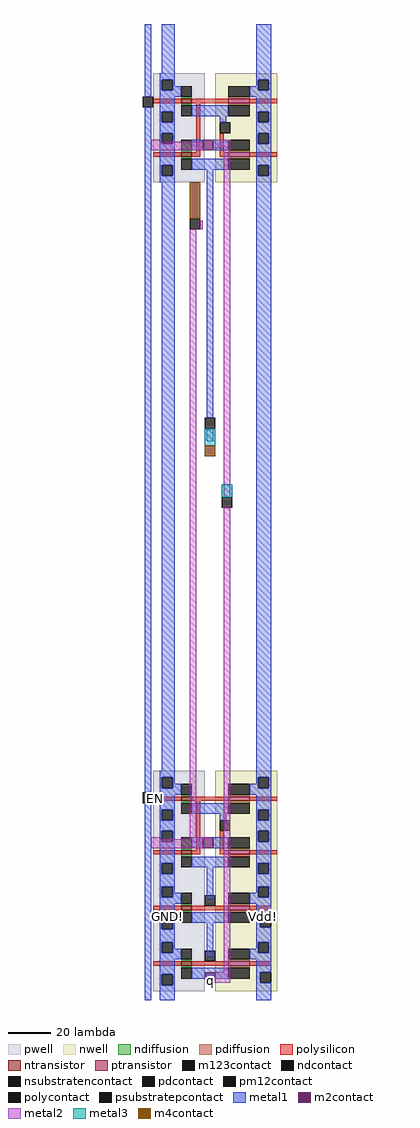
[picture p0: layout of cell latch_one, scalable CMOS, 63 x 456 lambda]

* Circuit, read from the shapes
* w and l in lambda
.subckt latch_one EN GND! Vdd! q
M1 GND! n1 q GND! nfet w=5 l=2
M2 GND! tg_0/out n1 GND! nfet w=5 l=2
M3 n2 EN tg_0/out GND! nfet w=5 l=2
M4 GND! EN n3 GND! nfet w=5 l=2
M5 n4 EN tg_1/out GND! nfet w=5 l=2
M6 GND! EN n5 GND! nfet w=5 l=2
M7 Vdd! n1 q Vdd! pfet w=10 l=2
M8 Vdd! tg_0/out n1 Vdd! pfet w=10 l=2
M9 n2 n3 tg_0/out Vdd! pfet w=10 l=2
M10 Vdd! EN n3 Vdd! pfet w=10 l=2
M11 n4 n5 tg_1/out Vdd! pfet w=10 l=2
M12 Vdd! EN n5 Vdd! pfet w=10 l=2
.ends

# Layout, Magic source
magic
tech scmos
<< pwell >>
rect 20 71 23 72
<< polysilicon >>
rect 0 89 2 91
<< polycontact >>
rect -5 413 0 418
<< metal1 >>
rect -4 418 -1 452
rect 4 428 10 452
rect 48 427 55 452
rect -4 93 -1 413
rect 4 102 10 378
rect 25 268 28 383
rect 25 257 28 263
rect 48 103 55 378
rect -4 -4 -1 88
rect 20 71 23 72
rect 25 43 28 57
rect 3 34 10 36
rect 48 34 55 36
rect 25 16 28 34
rect 3 -4 10 3
rect 48 -4 55 2
<< m2contact >>
rect 24 4 29 9
<< pm12contact >>
rect -5 88 0 93
<< metal2 >>
rect 29 394 36 398
rect 22 356 23 360
rect 17 72 20 356
rect 33 231 36 394
rect 17 71 25 72
rect 17 68 20 71
rect 33 9 36 226
rect 29 4 36 9
<< m123contact >>
rect 17 356 22 361
rect 24 263 29 268
rect 32 226 37 231
<< metal3 >>
rect 24 255 29 263
rect 32 231 37 237
<< m4contact >>
rect 17 361 22 378
rect 24 250 29 255
use new_inv  new_inv_1
transform 1 0 -77 0 1 -4
box 77 4 135 30
use new_inv  new_inv_0
transform 1 0 -77 0 1 22
box 77 4 135 30
use tg  tg_0
transform 1 0 -87 0 1 9
box 86 43 145 94
use tg  tg_1
transform 1 0 -87 0 1 335
box 86 43 145 94
<< labels >>
rlabel polysilicon 1 89 1 91 3 EN
rlabel metal1 4 35 9 35 1 GND!
rlabel metal1 49 35 54 35 1 Vdd!
rlabel m2contact 24 5 29 5 1 q
<< end >>

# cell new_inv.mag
magic
tech scmos
<< nwell >>
rect 106 4 135 30
<< pwell >>
rect 77 4 101 30
<< ntransistor >>
rect 90 16 95 18
<< ptransistor >>
rect 112 16 122 18
<< ndiffusion >>
rect 90 18 95 19
rect 90 15 95 16
<< pdiffusion >>
rect 112 18 122 19
rect 112 15 122 16
<< ndcontact >>
rect 90 19 95 24
rect 90 10 95 15
<< pdcontact >>
rect 112 19 122 24
rect 112 10 122 15
<< psubstratepcontact >>
rect 81 22 86 27
rect 81 7 86 12
<< nsubstratencontact >>
rect 126 22 131 27
rect 127 8 132 13
<< polysilicon >>
rect 77 16 90 18
rect 95 16 112 18
rect 122 16 132 18
<< polycontact >>
rect 101 18 106 23
<< metal1 >>
rect 80 27 87 30
rect 80 22 81 27
rect 86 24 87 27
rect 125 27 132 30
rect 125 24 126 27
rect 86 22 90 24
rect 80 19 90 22
rect 80 12 87 19
rect 122 22 126 24
rect 131 22 132 27
rect 122 19 132 22
rect 80 7 81 12
rect 86 7 87 12
rect 95 10 112 15
rect 125 13 132 19
rect 80 4 87 7
rect 125 8 127 13
rect 125 4 132 8
<< labels >>
rlabel metal1 126 5 131 5 1 Vdd!
rlabel metal1 81 5 86 5 1 GND!
<< end >>

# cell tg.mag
magic
tech scmos
<< nwell >>
rect 116 43 145 94
<< pwell >>
rect 87 43 111 94
<< ntransistor >>
rect 100 80 105 82
rect 100 55 105 57
<< ptransistor >>
rect 122 80 132 82
rect 122 55 132 57
<< ndiffusion >>
rect 100 82 105 83
rect 100 79 105 80
rect 100 57 105 58
rect 100 54 105 55
<< pdiffusion >>
rect 122 82 132 83
rect 122 79 132 80
rect 122 57 132 58
rect 122 54 132 55
<< ndcontact >>
rect 100 83 105 88
rect 100 74 105 79
rect 100 58 105 63
rect 100 49 105 54
<< pdcontact >>
rect 122 83 132 88
rect 122 74 132 79
rect 122 58 132 63
rect 122 49 132 54
<< psubstratepcontact >>
rect 91 86 96 91
rect 91 71 96 76
rect 91 61 96 66
rect 91 46 96 51
<< nsubstratencontact >>
rect 136 86 141 91
rect 136 71 141 76
rect 136 61 141 66
rect 136 46 141 51
<< polysilicon >>
rect 87 80 100 82
rect 105 80 122 82
rect 132 80 145 82
rect 107 57 109 80
rect 87 55 100 57
rect 105 55 109 57
rect 118 57 120 66
rect 118 55 122 57
rect 132 55 145 57
<< polycontact >>
rect 118 66 123 71
<< metal1 >>
rect 90 91 97 94
rect 90 86 91 91
rect 96 88 97 91
rect 135 91 142 94
rect 135 88 136 91
rect 96 86 100 88
rect 90 83 100 86
rect 132 86 136 88
rect 141 86 142 91
rect 132 83 142 86
rect 90 76 97 83
rect 90 71 91 76
rect 96 71 97 76
rect 105 74 122 79
rect 135 76 142 83
rect 90 66 97 71
rect 118 71 121 74
rect 135 71 136 76
rect 141 71 142 76
rect 135 66 142 71
rect 90 61 91 66
rect 96 61 97 66
rect 90 51 97 61
rect 105 58 110 63
rect 115 58 122 63
rect 135 61 136 66
rect 141 61 142 66
rect 90 46 91 51
rect 96 46 97 51
rect 105 49 122 54
rect 135 51 142 61
rect 112 46 115 49
rect 135 46 136 51
rect 141 46 142 51
rect 90 43 97 46
rect 135 43 142 46
<< m2contact >>
rect 110 58 115 63
<< metal2 >>
rect 86 62 90 63
rect 86 58 110 62
<< labels >>
rlabel metal1 112 47 115 47 1 out
rlabel metal1 136 44 141 44 1 Vdd!
rlabel polysilicon 88 80 88 82 3 EN
rlabel metal1 136 92 141 92 5 Vdd!
rlabel metal1 91 92 96 92 5 GND!
rlabel metal1 91 44 96 44 1 GND!
<< end >>
